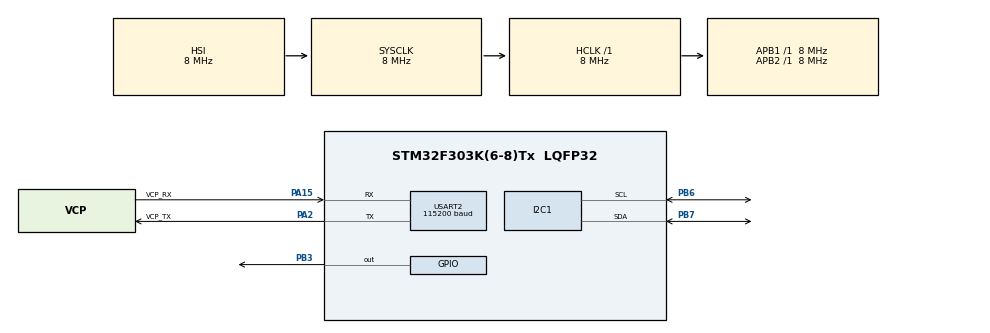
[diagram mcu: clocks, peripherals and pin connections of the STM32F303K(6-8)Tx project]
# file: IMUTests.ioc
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I2C1.Timing=0x00201D2B
Mcu.Family=STM32F3
Mcu.Name=STM32F303K(6-8)Tx
Mcu.Package=LQFP32
NVIC.PriorityGroup=NVIC_PRIORITYGROUP_4
PA13.GPIO_Label=SWDIO
PA13.Mode=Serial_Wire
PA13.Signal=SYS_JTMS-SWDIO
PA14.GPIO_Label=SWCLK
PA14.Mode=Serial_Wire
PA14.Signal=SYS_JTCK-SWCLK
PA15.GPIO_Label=VCP_RX
PA15.Mode=Asynchronous
PA15.Signal=USART2_RX
PA2.GPIO_Label=VCP_TX
PA2.Mode=Asynchronous
PA2.Signal=USART2_TX
PB3.Signal=GPIO_Output
PB6.Mode=I2C
PB6.Signal=I2C1_SCL
PB7.Mode=I2C
PB7.Signal=I2C1_SDA
PF0\ /\ OSC_IN.GPIO_Label=MCO
PF0\ /\ OSC_IN.Mode=HSE-External-Clock-Source
PF0\ /\ OSC_IN.Signal=RCC_OSC_IN
ProjectManager.HeapSize=0x200
ProjectManager.StackSize=0x400
ProjectManager.TargetToolchain=CMake
RCC.AHBFreq_Value=8000000
RCC.APB1Freq_Value=8000000
RCC.APB2Freq_Value=8000000
RCC.CortexFreq_Value=8000000
RCC.HSE_VALUE=8000000
RCC.HSI_VALUE=8000000
RCC.SYSCLKFreq_VALUE=8000000
USART2.BaudRate=115200
USART2.VirtualMode-Asynchronous=VM_ASYNC
board=NUCLEO-F303K8

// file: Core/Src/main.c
/* USER CODE BEGIN Header */
/**
  ******************************************************************************
  * @file           : main.c
  * @brief          : Main program body
  ******************************************************************************
  * @attention
  *
  * Copyright (c) 2025 STMicroelectronics.
  * All rights reserved.
  *
  * This software is licensed under terms that can be found in the LICENSE file
  * in the root directory of this software component.
  * If no LICENSE file comes with this software, it is provided AS-IS.
  *
  ******************************************************************************
  */
/* USER CODE END Header */
#include "main.h"
// #include "L3GD20-and-LSM303DLHC-HAL-drivers/stm32f3xx_l3gd20.h"
#include "L3GD20-and-LSM303DLHC-HAL-drivers/stm32f3xx_lsm303dlhc.h"
#include <stdio.h>

I2C_HandleTypeDef hi2c1;

UART_HandleTypeDef huart2;

/* USER CODE BEGIN PV */
// l3gd20_data_t l3gd20_data = { 0 };
lsm303dlhc_data_raw_t lsm303dlhc_data_acc = { 0 };
lsm303dlhc_data_raw_t lsm303dlhc_data_mag = { 0 };
lsm303dlhc_data_t lsm303dlhc_data_acc_conv = { 0 };
lsm303dlhc_data_t lsm303dlhc_data_mag_conv = { 0 };
/* USER CODE END PV */

void SystemClock_Config(void);
static void MX_GPIO_Init(void);
static void MX_I2C1_Init(void);
static void MX_USART2_UART_Init(void);

int main(void)
{

  /* MCU Configuration--------------------------------------------------------*/

  /* Reset of all peripherals, Initializes the Flash interface and the Systick. */
  HAL_Init();

  /* Configure the system clock */
  SystemClock_Config();

  /* Initialize all configured peripherals */
  MX_GPIO_Init();
  MX_I2C1_Init();
  MX_USART2_UART_Init();
  /* USER CODE BEGIN 2 */

  lsm303dlhc_acc_init_t lsm303dlhc_acc_init = { 0 };
  lsm303dlhc_mag_init_t lsm303dlhc_mag_init = { 0 };

  lsm303dlhc_acc_init.ctrl_reg1_a = LSM303DLHC_ACR1A_XEN | LSM303DLHC_ACR1A_YEN | LSM303DLHC_ACR1A_ZEN | LSM303DLHC_ACR1A_ODR30_100_HZ;
  lsm303dlhc_acc_init.ctrl_reg4_a = LSM303DLHC_ACR4A_FS10_1MG;

  lsm303dlhc_mag_init.op = LSM303DLHC_MAGOP_CONT;
  lsm303dlhc_mag_init.rate = LSM303DLHC_MAGRATE_15;
  lsm303dlhc_mag_init.gain = LSM303DLHC_MAGGAIN_1_3;
  lsm303dlhc_mag_init.auto_range = false;

 // if (l3gd20_init(&hspi1, L3GD20_SCALE_2000) != L3GD20_OK) {
  //   const uint8_t msg[] = "Error initializing L3GD20!\r\n";
  //   HAL_UART_Transmit(&huart2, msg, sizeof(msg), 100);
  // }
  if (lsm303dlhc_init_acc(&hi2c1, &lsm303dlhc_acc_init) != LSM303DLHC_OK) {
    const uint8_t msg[] = "Error initializing LSM303DLHC Accelerometer!\r\n";
    HAL_UART_Transmit(&huart2, msg, sizeof(msg), 100);
  }
  if (lsm303dlhc_init_mag(&hi2c1, &lsm303dlhc_mag_init) != LSM303DLHC_OK) {
    const uint8_t msg[] = "Error initializing LSM303DLHC Magnetometer!\r\n";
    HAL_UART_Transmit(&huart2, msg, sizeof(msg), 100);
  }

  /* USER CODE END 2 */

  /* Infinite loop */
  while (1)
  {

    /* USER CODE BEGIN 3 */

    HAL_GPIO_TogglePin(GPIOB, GPIO_PIN_3);
    HAL_Delay(500);

    // if (l3gd20_read(&l3gd20_data) == L3GD20_OK) {
    // } else {
    //   const uint8_t msg[] = "Error reading from L3GD20!\r\n";
    //   HAL_UART_Transmit(&huart2, msg, sizeof(msg), 100);
    // }

    if (lsm303dlhc_read_acc_raw(&lsm303dlhc_data_acc) == LSM303DLHC_OK) {
      /* raw data in lsm303dlhc_data_acc */
      /* if conversion is needed: */
      lsm303dlhc_convert_acc(&lsm303dlhc_data_acc_conv, &lsm303dlhc_data_acc);
    } else {
      const uint8_t msg[] = "Error reading from LSM303DLHC Accelerometer!\r\n";
      HAL_UART_Transmit(&huart2, msg, sizeof(msg), 100);
    }

    if (lsm303dlhc_read_mag_raw(&lsm303dlhc_data_mag) == LSM303DLHC_OK) {
      /* raw data in lsm303dlhc_data_mag */
      /* if conversion is needed: */
      lsm303dlhc_convert_mag(&lsm303dlhc_data_mag_conv, &lsm303dlhc_data_mag);
    } else {
      const uint8_t msg[] = "Error reading from LSM303DLHC Magnetometer!\r\n";
      HAL_UART_Transmit(&huart2, msg, sizeof(msg), 100);
    }

    const uint8_t msg[50] = {0};
    snprintf((char*)msg, sizeof(msg), "READ: %f, %f, %f\r\n", lsm303dlhc_data_mag_conv.x, lsm303dlhc_data_mag_conv.y, lsm303dlhc_data_mag_conv.z);
    HAL_UART_Transmit(&huart2, msg, sizeof(msg), 100);

  }
  /* USER CODE END 3 */
}

void SystemClock_Config(void)
{
  RCC_OscInitTypeDef RCC_OscInitStruct = {0};
  RCC_ClkInitTypeDef RCC_ClkInitStruct = {0};
  RCC_PeriphCLKInitTypeDef PeriphClkInit = {0};

  /** Initializes the RCC Oscillators according to the specified parameters
  * in the RCC_OscInitTypeDef structure.
  */
  RCC_OscInitStruct.OscillatorType = RCC_OSCILLATORTYPE_HSI;
  RCC_OscInitStruct.HSIState = RCC_HSI_ON;
  RCC_OscInitStruct.HSICalibrationValue = RCC_HSICALIBRATION_DEFAULT;
  RCC_OscInitStruct.PLL.PLLState = RCC_PLL_NONE;
  if (HAL_RCC_OscConfig(&RCC_OscInitStruct) != HAL_OK)
  {
    Error_Handler();
  }

  /** Initializes the CPU, AHB and APB buses clocks
  */
  RCC_ClkInitStruct.ClockType = RCC_CLOCKTYPE_HCLK|RCC_CLOCKTYPE_SYSCLK
                              |RCC_CLOCKTYPE_PCLK1|RCC_CLOCKTYPE_PCLK2;
  RCC_ClkInitStruct.SYSCLKSource = RCC_SYSCLKSOURCE_HSI;
  RCC_ClkInitStruct.AHBCLKDivider = RCC_SYSCLK_DIV1;
  RCC_ClkInitStruct.APB1CLKDivider = RCC_HCLK_DIV1;
  RCC_ClkInitStruct.APB2CLKDivider = RCC_HCLK_DIV1;

  if (HAL_RCC_ClockConfig(&RCC_ClkInitStruct, FLASH_LATENCY_0) != HAL_OK)
  {
    Error_Handler();
  }
  PeriphClkInit.PeriphClockSelection = RCC_PERIPHCLK_I2C1;
  PeriphClkInit.I2c1ClockSelection = RCC_I2C1CLKSOURCE_HSI;
  if (HAL_RCCEx_PeriphCLKConfig(&PeriphClkInit) != HAL_OK)
  {
    Error_Handler();
  }
}

static void MX_I2C1_Init(void)
{

  hi2c1.Instance = I2C1;
  hi2c1.Init.Timing = 0x00201D2B;
  hi2c1.Init.OwnAddress1 = 0;
  hi2c1.Init.AddressingMode = I2C_ADDRESSINGMODE_7BIT;
  hi2c1.Init.DualAddressMode = I2C_DUALADDRESS_DISABLE;
  hi2c1.Init.OwnAddress2 = 0;
  hi2c1.Init.OwnAddress2Masks = I2C_OA2_NOMASK;
  hi2c1.Init.GeneralCallMode = I2C_GENERALCALL_DISABLE;
  hi2c1.Init.NoStretchMode = I2C_NOSTRETCH_DISABLE;
  if (HAL_I2C_Init(&hi2c1) != HAL_OK)
  {
    Error_Handler();
  }

  /** Configure Analogue filter
  */
  if (HAL_I2CEx_ConfigAnalogFilter(&hi2c1, I2C_ANALOGFILTER_ENABLE) != HAL_OK)
  {
    Error_Handler();
  }

  /** Configure Digital filter
  */
  if (HAL_I2CEx_ConfigDigitalFilter(&hi2c1, 0) != HAL_OK)
  {
    Error_Handler();
  }

}

static void MX_USART2_UART_Init(void)
{

  huart2.Instance = USART2;
  huart2.Init.BaudRate = 115200;
  huart2.Init.WordLength = UART_WORDLENGTH_8B;
  huart2.Init.StopBits = UART_STOPBITS_1;
  huart2.Init.Parity = UART_PARITY_NONE;
  huart2.Init.Mode = UART_MODE_TX_RX;
  huart2.Init.HwFlowCtl = UART_HWCONTROL_NONE;
  huart2.Init.OverSampling = UART_OVERSAMPLING_16;
  huart2.Init.OneBitSampling = UART_ONE_BIT_SAMPLE_DISABLE;
  huart2.AdvancedInit.AdvFeatureInit = UART_ADVFEATURE_NO_INIT;
  if (HAL_UART_Init(&huart2) != HAL_OK)
  {
    Error_Handler();
  }

}

static void MX_GPIO_Init(void)
{
  GPIO_InitTypeDef GPIO_InitStruct = {0};

  /* GPIO Ports Clock Enable */
  __HAL_RCC_GPIOF_CLK_ENABLE();
  __HAL_RCC_GPIOA_CLK_ENABLE();
  __HAL_RCC_GPIOB_CLK_ENABLE();

  /*Configure GPIO pin Output Level */
  HAL_GPIO_WritePin(GPIOB, GPIO_PIN_3, GPIO_PIN_RESET);

  /*Configure GPIO pin : PB3 */
  GPIO_InitStruct.Pin = GPIO_PIN_3;
  GPIO_InitStruct.Mode = GPIO_MODE_OUTPUT_PP;
  GPIO_InitStruct.Pull = GPIO_NOPULL;
  GPIO_InitStruct.Speed = GPIO_SPEED_FREQ_LOW;
  HAL_GPIO_Init(GPIOB, &GPIO_InitStruct);

}

void Error_Handler(void)
{
  __disable_irq();
  while (1)
  {
  }
}
